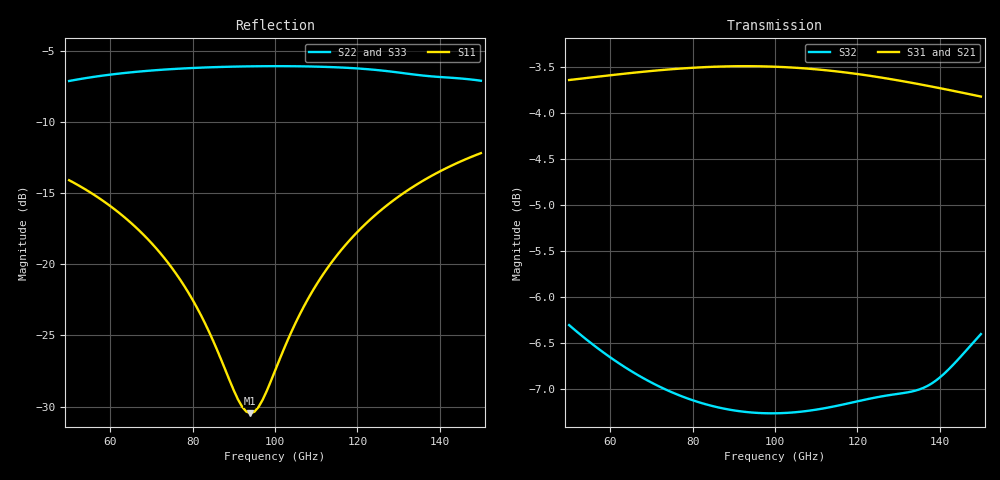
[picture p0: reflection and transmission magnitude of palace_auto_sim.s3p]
#  GHZ S DB R 50
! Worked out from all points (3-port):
!   101 points, 50 GHz to 150 GHz, reference 50 ohm
!   strongest paths, dB at 50 GHz, 75 GHz, 100 GHz, 125 GHz, 150 GHz:
!     S31: -3.6, -3.5, -3.5, -3.6, -3.8
!     S21: -3.6, -3.5, -3.5, -3.6, -3.8
!     S32: -6.3, -7.0, -7.3, -7.1, -6.4
!   lowest |S11| = -30.5 dB at 94 GHz (marker M1), VSWR 1.06, Z = 53.1 + j0.142 ohm
!   |S11| at or under -10 dB: start of sweep to end of sweep
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50  -14.07 126.8  -3.64 -45.1  -3.64 -45.1
    -3.64 -45.1  -7.09 46.5  -6.30 -99.8
    -3.64 -45.1  -6.30 -99.8  -7.10 46.4
63  -16.57 111.2  -3.58 -57.1  -3.57 -57.1
    -3.58 -57.1  -6.54 30.2  -6.75 -122.0
    -3.57 -57.1  -6.75 -122.0  -6.55 30.1
74  -19.87 94.9  -3.53 -67.5  -3.52 -67.5
    -3.53 -67.5  -6.27 18.4  -7.02 -140.2
    -3.52 -67.5  -7.02 -140.2  -6.29 18.3
91  -29.49 32.0  -3.50 -83.8  -3.49 -83.8
    -3.50 -83.8  -6.07 2.1  -7.24 -167.9
    -3.49 -83.8  -7.24 -167.9  -6.09 1.9
94  -30.48 2.6  -3.50 -86.6  -3.49 -86.7
    -3.50 -86.6  -6.06 -0.7  -7.25 -172.8
    -3.49 -86.7  -7.25 -172.8  -6.08 -0.8
100  -27.49 -48.6  -3.50 -92.4  -3.49 -92.5
     -3.50 -92.4  -6.04 -6.1  -7.26 177.4
     -3.49 -92.5  -7.26 177.4  -6.06 -6.3
109  -21.93 -80.7  -3.53 -101.1  -3.52 -101.2
     -3.53 -101.1  -6.07 -14.4  -7.23 162.7
     -3.52 -101.2  -7.23 162.7  -6.09 -14.6
119  -18.02 -98.8  -3.58 -110.7  -3.57 -110.8
     -3.58 -110.7  -6.18 -24.1  -7.14 146.0
     -3.57 -110.8  -7.14 146.0  -6.21 -24.2
133  -14.63 -116.9  -3.68 -124.0  -3.67 -124.1
     -3.68 -124.0  -6.60 -38.1  -7.03 122.7
     -3.67 -124.1  -7.03 122.7  -6.63 -38.3
150  -12.16 -135.5  -3.83 -139.7  -3.82 -139.9
     -3.83 -139.7  -7.07 -57.6  -6.40 94.9
     -3.82 -139.9  -6.40 94.9  -7.09 -57.8
